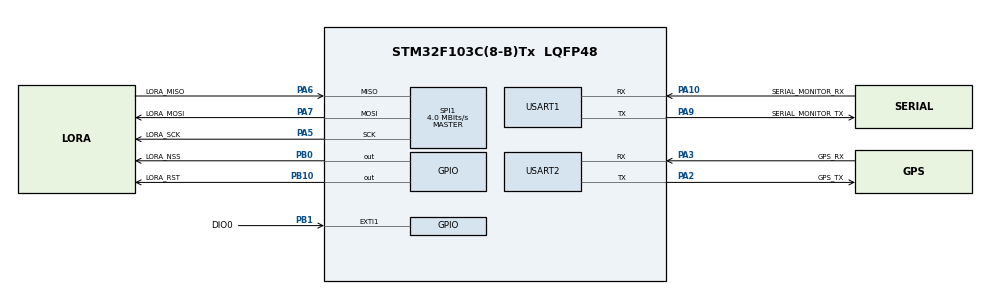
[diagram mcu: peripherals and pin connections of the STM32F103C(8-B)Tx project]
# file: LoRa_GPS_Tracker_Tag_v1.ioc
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Dma.Request0=USART1_RX
Dma.USART1_RX.0.Direction=DMA_PERIPH_TO_MEMORY
Dma.USART1_RX.0.Instance=DMA1_Channel5
Dma.USART1_RX.0.MemDataAlignment=DMA_MDATAALIGN_BYTE
Dma.USART1_RX.0.MemInc=DMA_MINC_ENABLE
Dma.USART1_RX.0.Mode=DMA_CIRCULAR
Dma.USART1_RX.0.PeriphDataAlignment=DMA_PDATAALIGN_BYTE
Dma.USART1_RX.0.PeriphInc=DMA_PINC_DISABLE
Dma.USART1_RX.0.Priority=DMA_PRIORITY_LOW
Mcu.Family=STM32F1
Mcu.Name=STM32F103C(8-B)Tx
Mcu.Package=LQFP48
NVIC.DMA1_Channel5_IRQn=true\:0\:0\:false\:false\:true\:false\:true\:true
NVIC.EXTI1_IRQn=true\:0\:0\:false\:false\:true\:true\:true\:true
NVIC.PriorityGroup=NVIC_PRIORITYGROUP_4
NVIC.RCC_IRQn=true\:0\:0\:false\:false\:true\:true\:false\:true
NVIC.USART1_IRQn=true\:0\:0\:false\:false\:true\:true\:true\:true
PA10.GPIO_Label=SERIAL_MONITOR_RX
PA10.Mode=Asynchronous
PA10.Signal=USART1_RX
PA2.GPIO_Label=GPS_TX
PA2.Mode=Asynchronous
PA2.Signal=USART2_TX
PA3.GPIO_Label=GPS_RX
PA3.Mode=Asynchronous
PA3.Signal=USART2_RX
PA5.GPIO_Label=LORA_SCK
PA5.Mode=Full_Duplex_Master
PA5.Signal=SPI1_SCK
PA6.GPIO_Label=LORA_MISO
PA6.Mode=Full_Duplex_Master
PA6.Signal=SPI1_MISO
PA7.GPIO_Label=LORA_MOSI
PA7.Mode=Full_Duplex_Master
PA7.Signal=SPI1_MOSI
PA9.GPIO_Label=SERIAL_MONITOR_TX
PA9.Mode=Asynchronous
PA9.Signal=USART1_TX
PB0.GPIO_Label=LORA_NSS
PB0.PinState=GPIO_PIN_SET
PB0.Signal=GPIO_Output
PB1.GPIO_Label=DIO0
PB1.GPIO_PuPd=GPIO_NOPULL
PB1.Signal=GPXTI1
PB10.GPIO_Label=LORA_RST
PB10.GPIO_ModeDefaultOutputPP=GPIO_MODE_OUTPUT_PP
PB10.GPIO_Speed=GPIO_SPEED_FREQ_MEDIUM
PB10.PinState=GPIO_PIN_SET
PB10.Signal=GPIO_Output
PC14-OSC32_IN.Mode=LSE-External-Oscillator
PC14-OSC32_IN.Signal=RCC_OSC32_IN
PC15-OSC32_OUT.Mode=LSE-External-Oscillator
PC15-OSC32_OUT.Signal=RCC_OSC32_OUT
ProjectManager.HeapSize=0x200
ProjectManager.StackSize=0x400
ProjectManager.TargetToolchain=STM32CubeIDE
RCC.APB1Freq_Value=8000000
RCC.APB2Freq_Value=8000000
SPI1.CalculateBaudRate=4.0 MBits/s
SPI1.Direction=SPI_DIRECTION_2LINES
SPI1.Mode=SPI_MODE_MASTER
SPI1.VirtualType=VM_MASTER
USART1.VirtualMode=VM_ASYNC
USART2.VirtualMode=VM_ASYNC
VP_SYS_VS_ND.Mode=No_Debug
board=custom

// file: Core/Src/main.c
/* USER CODE BEGIN Header */
/**
  ******************************************************************************
  * @file           : main.c
  * @brief          : Main program body
  ******************************************************************************
  * @attention
  *
  * Copyright (c) 2026 STMicroelectronics.
  * All rights reserved.
  *
  * This software is licensed under terms that can be found in the LICENSE file
  * in the root directory of this software component.
  * If no LICENSE file comes with this software, it is provided AS-IS.
  *
  ******************************************************************************
  */
/* USER CODE END Header */
#include "main.h"
#include "dma.h"
#include "spi.h"
#include "usart.h"
#include "gpio.h"

/* USER CODE BEGIN Includes */
#include <stdio.h>
#include <stdint.h>
#include <string.h>
#include "LoRa.h"
#include "lwgps.h"			// To be added later when config GPS Functionality
/* USER CODE END Includes */

/* USER CODE BEGIN PD */
#define ROLE_TAG          1        /* 1 = tag board, 0 = seeker board */
#define GPS_RX_BUF_SIZE   1024U

#define MSG_WAKE   0x01
#define MSG_ACK    0x02
#define MSG_GPS    0x03
#define MY_TAG_ID  0x01
#define SYNC_WORD  0x12

#define TAG_SLEEP_MS      1000U
#define WAKE_PREAMBLE     6000U    /* symbols: ~6.1 s at SF7/125k, must be longer than TAG_SLEEP_MS */
#define TAG_ACK_WAIT_MS   10000U
#define SEEKER_LISTEN_MS  4000U
#define GPS_SEND_MS       1000U
#define TIMEOUT_RX		7000U
/* USER CODE END PD */

/* USER CODE BEGIN PV */
/***************** GPS TESTING CODE BEGIN *********************/
static lwgps_t           hgps;                        /* lwgps handle */
static uint8_t           gps_dma_buf[GPS_RX_BUF_SIZE];
static volatile uint16_t gps_head = 0;                /* written in callback (where DMA has reached) */
static uint16_t          gps_tail = 0;                /* how far main loop has parsed */

/******************** GPS TESTING CODE END *******************/
char dbg[64];				// Added for printing debug

/* USER CODE END PV */

void SystemClock_Config(void);
/* USER CODE BEGIN PFP */
void UART_Print(char *message);
static void gps_print(void);

/* USER CODE END PFP */

/* USER CODE BEGIN 0 */
void UART_Print(char *message)
{
    HAL_UART_Transmit(&huart2,
                      (uint8_t*)message,
                      strlen(message),
                      HAL_MAX_DELAY);
}

static void lora_set_preamble(LoRa* l, uint16_t n)
{
    LoRa_write(l, 0x20, n >> 8);      // RegPreambleMsb
    LoRa_write(l, 0x21, n & 0xFF);    // RegPreambleLsb
}

/* 12-byte GPS packet: [type][id][seq][fix][lat e6 (4B)][lon e6 (4B)] */
static uint8_t gps_pack(uint8_t* p, uint8_t seq)
{
    int32_t lat = (int32_t)((double)hgps.latitude  * 1000000.0);
    int32_t lon = (int32_t)((double)hgps.longitude * 1000000.0);
    p[0] = MSG_GPS; p[1] = MY_TAG_ID; p[2] = seq; p[3] = hgps.is_valid ? 1 : 0;
    memcpy(&p[4], &lat, 4);
    memcpy(&p[8], &lon, 4);
    return 12;
}
/******************************************** GPS TESTING CODE END *****************************************/

/********************* GPS TESTING FUNCTION BEGIN **************************/

/* Feed whatever new bytes DMA has dropped into the buffer to lwgps */
static void gps_poll(void)
{
    uint16_t head = gps_head;           /* single read of the volatile */

    if (head == gps_tail) {
//    	UART_Print("Inside head == gps_tail");
        return;                         /* nothing new */
    }

//    /* DEBUG: echo raw GPS bytes to serial monitor */
//    if (head > gps_tail) {
////    	UART_Print("Inside head > gps_tail... should print data\r\n");
//        HAL_UART_Transmit(&huart2, &gps_dma_buf[gps_tail], head - gps_tail, 100);
//    } else {
////    	UART_Print("Inside head < gps_tail... should print data\r\n");
//
//        HAL_UART_Transmit(&huart2, &gps_dma_buf[gps_tail], GPS_RX_BUF_SIZE - gps_tail, 100);
//        if (head > 0) HAL_UART_Transmit(&huart2, &gps_dma_buf[0], head, 100);
//    }

    if (head > gps_tail) {              /* simple case, no wrap */
        lwgps_process(&hgps, &gps_dma_buf[gps_tail], head - gps_tail);
    } else {                            /* wrapped: tail->end, then 0->head */
        lwgps_process(&hgps, &gps_dma_buf[gps_tail], GPS_RX_BUF_SIZE - gps_tail);
        if (head > 0) {
            lwgps_process(&hgps, &gps_dma_buf[0], head);
        }
    }
    gps_tail = head % GPS_RX_BUF_SIZE;
}

/****************************** DEBUG CODE ****************************/
/* continuous RX for up to timeout_ms; returns bytes of the first valid packet, 0 if none */
static uint8_t  dbg_irq, dbg_stat;
static uint32_t dbg_first_ms;

static uint8_t rx_window(LoRa* l, uint8_t* buf, uint8_t len, uint32_t timeout_ms)
{
    uint8_t n = 0;
    dbg_irq = 0; dbg_stat = 0; dbg_first_ms = 0;
    LoRa_write(l, RegIrqFlagsMask, 0x00);
    LoRa_write(l, RegIrqFlags, 0xFF);
    LoRa_startReceiving(l);
    uint32_t t0 = HAL_GetTick();
    while (n == 0 && (HAL_GetTick() - t0) < timeout_ms) {
        gps_poll();
        uint8_t st = LoRa_read(l, 0x18);                  // RegModemStat
        if ((st & 0x01) && dbg_first_ms == 0) dbg_first_ms = HAL_GetTick() - t0 + 1;
        dbg_stat |= st;
        dbg_irq  |= LoRa_read(l, 0x12);                   // read before checkRx clears it
        n = LoRa_checkRx(l, buf, len);
    }
    LoRa_gotoMode(l, STNBY_MODE);
    return n;
}

/************************** DEBUG CODE ***********************************/

/* Print one line on USART2 */
static void gps_print(void)
{
    char msg[200];
    int  n;
//    int validity = hgps.is_valid;
//    snprintf(dbg, sizeof(dbg), "hgps.is_valid = %d\r\n", validity);
//    UART_Print(dbg);
    if (!hgps.is_valid) {
//    	UART_Print("Still inside IF statement\r\n");
        n = snprintf(msg, sizeof(msg),
                     "No fix yet | sats in view: %d | sats in use: %d\r\n",
                     (int)hgps.sats_in_view, (int)hgps.sats_in_use);
    } else {
//    	UART_Print("Inside Else statement... Should be working now\r\n");
        n = snprintf(msg, sizeof(msg), "Lat: %.6f  Lon: %.6f  Alt: %.1f m  Speed: %.1f km/h  " "Sats: %d  UTC: %02d:%02d:%02d\r\n",(double)hgps.latitude,(double)hgps.longitude,(double)hgps.altitude,(double)lwgps_to_speed(hgps.speed, LWGPS_SPEED_KPH),(int)hgps.sats_in_use,(int)hgps.hours, (int)hgps.minutes, (int)hgps.seconds);
    }
    HAL_UART_Transmit(&huart2, (uint8_t *)msg, (uint16_t)n, 100);
}

/******************************************** GPS TESTING CODE END *****************************************/
/* USER CODE END 0 */

int main(void)
{

  /* MCU Configuration--------------------------------------------------------*/

  /* Reset of all peripherals, Initializes the Flash interface and the Systick. */
  HAL_Init();

  /* Configure the system clock */
  SystemClock_Config();

  /* Initialize all configured peripherals */
  MX_GPIO_Init();
  MX_DMA_Init();
  MX_SPI1_Init();
  MX_USART1_UART_Init();
  MX_USART2_UART_Init();
  /* USER CODE BEGIN 2 */

  LoRa myLora;

  myLora = newLoRa();

  myLora.CS_pin = LORA_NSS_Pin;
  myLora.CS_port = LORA_NSS_GPIO_Port;
  myLora.reset_pin = LORA_RST_Pin;
  myLora.reset_port = LORA_RST_GPIO_Port;
  myLora.DIO0_pin = DIO0_Pin;
  myLora.DIO0_port = DIO0_GPIO_Port;
  myLora.hSPIx = &hspi1;

  uint16_t st = LoRa_init(&myLora);
  sprintf(dbg, "LoRa_Status: %d\r\n", st);
  UART_Print(dbg);
  if (st != 200) { UART_Print("LoRa init failed, stopping\r\n"); while (1); }

  LoRa_write(&myLora, 0x39, SYNC_WORD);   // RegSyncWord, set after init, same on both boards

  uint8_t rx[16];
  uint8_t n;

//  uint16_t LoRa_status = LoRa_init(&myLora);
//
//  char buffer[50];
//
//  uint16_t value = 123;
//
//  sprintf(buffer, "Value = %d\r\n", value);
//
//  UART_Print(buffer);
//
//  sprintf(buffer, "LoRa_Status: %d\r\n", LoRa_status);
//
//  UART_Print(buffer);
//
//  if(LoRa_status != LORA_OK){
//  		//This is a basic version of Cad_Mode that runs it in an infinite loop
//	  UART_Print("ERROR: The LoRa Module is not able to initialize !\r\n");
//
//  	}

  /************************** GPS TESTING CODE BEGIN ******************************/
  lwgps_init(&hgps);

  if (HAL_UARTEx_ReceiveToIdle_DMA(&huart1, gps_dma_buf, GPS_RX_BUF_SIZE) != HAL_OK) {
      const char *e = "DMA start FAILED\r\n";
      HAL_UART_Transmit(&huart2, (uint8_t *)e, strlen(e), 100);
  }

  const char *hello = "GPS demo started, waiting for NMEA data...\r\n";
  HAL_UART_Transmit(&huart2, (uint8_t *)hello, strlen(hello), 100);

  uint32_t last_print = HAL_GetTick();

  /************************ GPS TESTING CODE END *******************************/

  /* USER CODE END 2 */

  /* Infinite loop */
  /* USER CODE BEGIN WHILE */
//  while (1)
//  {
//	  sleep_5s();
//
//	  int8_t cad = LoRa_startcadmode(&myLora, 100);
//
//	  if (cad == 1) {
//		  // Look for syncword using rxsingle mode.
//	  }
//	  else if (cad == -1) {
//		  UART_Print("CAD timeout, check SPI/wiring\r\n");
//	  }
//	      // cad == 0: nothing heard, loop back to sleep
    /* USER CODE END WHILE */

    /* USER CODE BEGIN 3 */
//  }
  	while (1)
  	{
#if ROLE_TAG
			UART_Print("[TAG] sleep\r\n");
			LoRa_gotoMode(&myLora, SLEEP_MODE);
			uint32_t t0 = HAL_GetTick(); // instant value
			while ((HAL_GetTick() - t0 ) < TAG_SLEEP_MS) gps_poll();   // placeholder for RTC + Stop mode later

			//after 1sec we go into CAD Mode
			int8_t cad = LoRa_startcadmode(&myLora, 200);
			//200ms max >

			if (cad != 1) continue;                                  // clear: back to sleep
			UART_Print("[TAG] CAD detected, checking sync word\r\n");

			n = rx_window(&myLora, rx, sizeof(rx), TIMEOUT_RX);			// DEBUG CODE //received data in rx from RxBuffer with n as size of data

			sprintf(dbg, "[TAG] n=%d irq=0x%02X stat=0x%02X first=%lums\r\n",
			        n, dbg_irq, dbg_stat, (unsigned long)dbg_first_ms);
			UART_Print(dbg);

			snprintf(dbg, sizeof(dbg), "Datalength ==> %d | Rx values--> rx[0]: %d rx[1]: %d rx[2]: %d \r\n", n, rx[0],rx[1],rx[2]);
			UART_Print(dbg);

//			n = LoRa_receive(&myLora, rx, sizeof(rx), 7000);
			if (!(n >= 3 && rx[0] == MSG_WAKE && rx[1] == MY_TAG_ID)) {
				UART_Print("[TAG] no valid WAKE, back to sleep\r\n");
				continue;
			}

			uint8_t seq = rx[2];
			while (1) {
				HAL_Delay(20);                                       // let the seeker switch TX to RX
				uint8_t ack[3] = { MSG_ACK, MY_TAG_ID, seq };
				LoRa_transmit(&myLora, ack, 3, 500);
				UART_Print("[TAG] ACK sent, waiting\r\n");
/********************* DEBUG CODE *********************/
				uint8_t woke = 0;
				t0 = HAL_GetTick();
				while (!woke && (HAL_GetTick() - t0) < TAG_ACK_WAIT_MS) {
				    n = rx_window(&myLora, rx, sizeof(rx), TAG_ACK_WAIT_MS - (HAL_GetTick() - t0));
				    if (n >= 3 && rx[0] == MSG_WAKE && rx[1] == MY_TAG_ID) { seq = rx[2]; woke = 1; }
				}
/********************* DEBUG CODE *******************/

//				uint8_t woke = 0;
//				t0 = HAL_GetTick();
//				while (HAL_GetTick() - t0 < TAG_ACK_WAIT_MS) {
//					n = LoRa_receive(&myLora, rx, sizeof(rx), 7000);
//					if (n >= 3 && rx[0] == MSG_WAKE && rx[1] == MY_TAG_ID) { seq = rx[2]; woke = 1; break; }
//				}
				if (!woke) break;                                    // silence: seeker got the ACK
				UART_Print("[TAG] WAKE again, resending ACK\r\n");
			}

			UART_Print("[TAG] lost mode\r\n");
			seq = 0;
			while (1) {
				uint8_t pkt[12];
				gps_poll();
				sprintf(dbg, "GPS valid=%d view=%d use=%d head=%u\r\n",
				        hgps.is_valid, hgps.sats_in_view, hgps.sats_in_use, gps_head);
				UART_Print(dbg);
				gps_print();
				gps_pack(pkt, seq++);
				LoRa_transmit(&myLora, pkt, 12, 500);
				t0 = HAL_GetTick();
				while (HAL_GetTick() - t0 < GPS_SEND_MS) gps_poll();
			}

#else   /* ---------------- SEEKER ---------------- */
			uint8_t found = 0;

			UART_Print("[SEEKER] boot listen\r\n");
			uint32_t t0 = HAL_GetTick();
			while (HAL_GetTick() - t0 < SEEKER_LISTEN_MS) {
				n = LoRa_receive(&myLora, rx, sizeof(rx), 500);
				if (n >= 12 && rx[0] == MSG_GPS && rx[1] == MY_TAG_ID) { found = 1; break; }   // tag already in lost mode
			}

			uint8_t seq = 0;
			while (!found) {
				uint8_t wake[3] = { MSG_WAKE, MY_TAG_ID, ++seq };
				UART_Print("[SEEKER] TX WAKE (long preamble)\r\n");
				lora_set_preamble(&myLora, WAKE_PREAMBLE);
				LoRa_transmit(&myLora, wake, 3, 8000);
				lora_set_preamble(&myLora, 8);

				n = LoRa_receive(&myLora, rx, sizeof(rx), 1000);
				if (n >= 3 && rx[0] == MSG_ACK && rx[1] == MY_TAG_ID) {
					UART_Print("[SEEKER] ACK received\r\n");
					found = 1;
				} else {
					UART_Print("[SEEKER] no ACK, retrying\r\n");
				}
			}

			UART_Print("[SEEKER] lost mode\r\n");
			LoRa_startReceiving(&myLora);                            // continuous RX
			while (1) {
				gps_poll();
				n = LoRa_checkRx(&myLora, rx, sizeof(rx));
				if (n >= 12 && rx[0] == MSG_GPS && rx[1] == MY_TAG_ID) {
					int32_t lat, lon;
					char msg[96];
					memcpy(&lat, &rx[4], 4);
					memcpy(&lon, &rx[8], 4);
					sprintf(msg, "Tag seq=%d fix=%d lat=%ld lon=%ld rssi=%d\r\n",
							rx[2], rx[3], (long)lat, (long)lon, LoRa_getRSSI(&myLora));
					UART_Print(msg);
				}
			3}
#endif
  	}
  /* USER CODE END 3 */
}

void SystemClock_Config(void)
{
  RCC_OscInitTypeDef RCC_OscInitStruct = {0};
  RCC_ClkInitTypeDef RCC_ClkInitStruct = {0};

  /** Initializes the RCC Oscillators according to the specified parameters
  * in the RCC_OscInitTypeDef structure.
  */
  RCC_OscInitStruct.OscillatorType = RCC_OSCILLATORTYPE_HSI;
  RCC_OscInitStruct.HSIState = RCC_HSI_ON;
  RCC_OscInitStruct.HSICalibrationValue = RCC_HSICALIBRATION_DEFAULT;
  RCC_OscInitStruct.PLL.PLLState = RCC_PLL_NONE;
  if (HAL_RCC_OscConfig(&RCC_OscInitStruct) != HAL_OK)
  {
    Error_Handler();
  }

  /** Initializes the CPU, AHB and APB buses clocks
  */
  RCC_ClkInitStruct.ClockType = RCC_CLOCKTYPE_HCLK|RCC_CLOCKTYPE_SYSCLK
                              |RCC_CLOCKTYPE_PCLK1|RCC_CLOCKTYPE_PCLK2;
  RCC_ClkInitStruct.SYSCLKSource = RCC_SYSCLKSOURCE_HSI;
  RCC_ClkInitStruct.AHBCLKDivider = RCC_SYSCLK_DIV1;
  RCC_ClkInitStruct.APB1CLKDivider = RCC_HCLK_DIV1;
  RCC_ClkInitStruct.APB2CLKDivider = RCC_HCLK_DIV1;

  if (HAL_RCC_ClockConfig(&RCC_ClkInitStruct, FLASH_LATENCY_0) != HAL_OK)
  {
    Error_Handler();
  }
}

/* USER CODE BEGIN 4 */

//void HAL_GPIO_EXTI_Callback(uint16_t pin)
//{
//    if (pin == DIO1_Pin) cad_detected = 1;   // flag only, no SPI in here
//}
//
//static void set_alarm_in(uint32_t secs)
//{
//    RTC_TimeTypeDef t; RTC_DateTypeDef d;
//    HAL_RTC_GetTime(&hrtc, &t, RTC_FORMAT_BIN);
//    HAL_RTC_GetDate(&hrtc, &d, RTC_FORMAT_BIN);   // must be read after GetTime
//
//    uint32_t total = (t.Hours * 3600 + t.Minutes * 60 + t.Seconds + secs) % 86400;
//
//    RTC_AlarmTypeDef a = {0};
//    a.Alarm = RTC_ALARM_A;
//    a.AlarmTime.Hours   = total / 3600;
//    a.AlarmTime.Minutes = (total % 3600) / 60;
//    a.AlarmTime.Seconds = total % 60;
//    HAL_RTC_SetAlarm_IT(&hrtc, &a, RTC_FORMAT_BIN);
//}
//
//static void sleep_5s(void)
//{
//    rtc_flag = 0;
//    set_alarm_in(5);
//    LoRa_sleep(&myLora);
//
//    while (!rtc_flag) {                        // guards against spurious wakes
//        HAL_SuspendTick();
//        HAL_PWR_EnterSTOPMode(PWR_LOWPOWERREGULATOR_ON, PWR_STOPENTRY_WFI);
//        SystemClock_Config();                  // HSE/PLL are off after Stop
//        HAL_ResumeTick();
//    }
//}

/* USER CODE END 4 */

void Error_Handler(void)
{
  __disable_irq();
  while (1)
  {
  }
}
